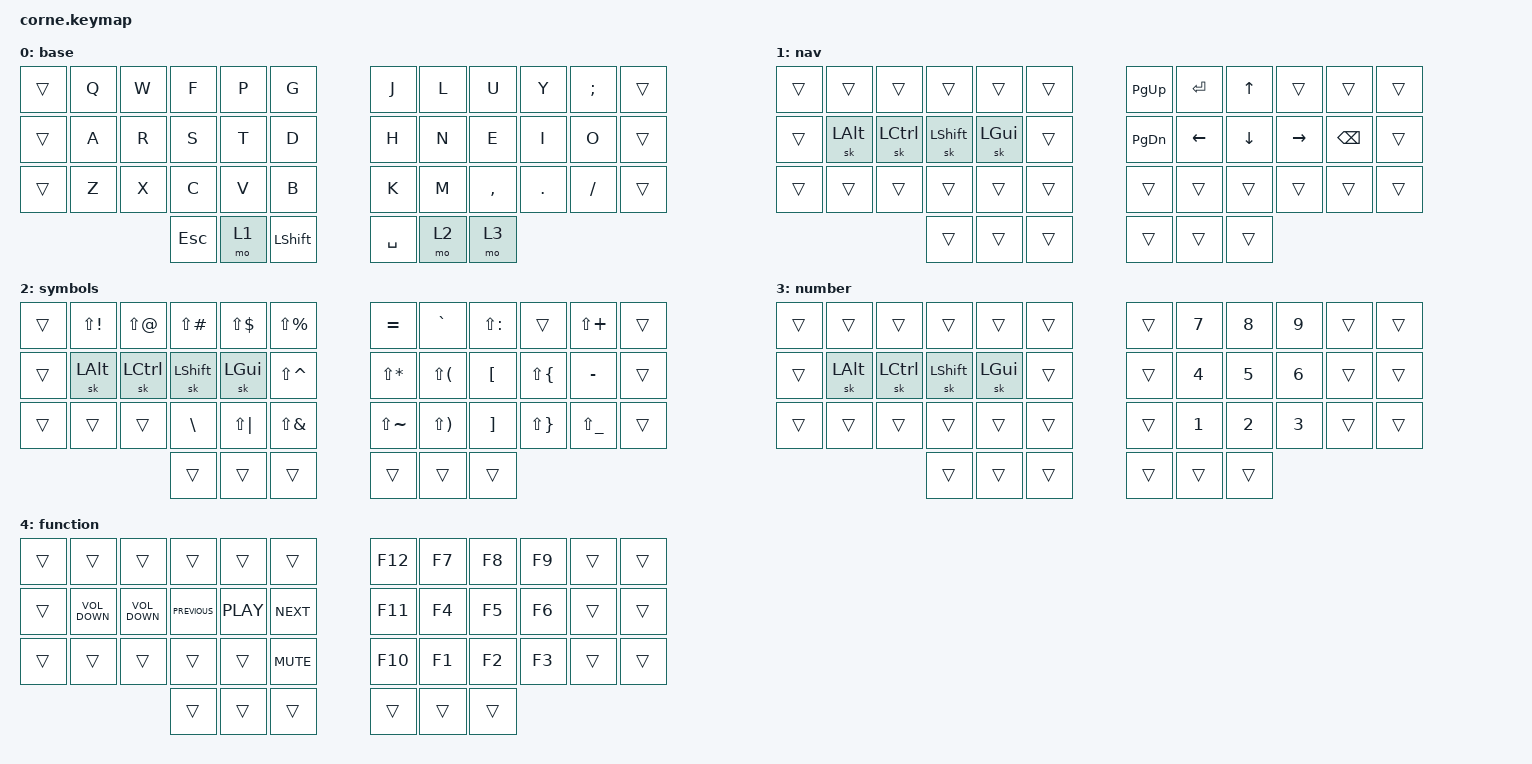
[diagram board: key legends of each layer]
#include <behaviors.dtsi>
#include <dt-bindings/zmk/keys.h>
#include <dt-bindings/zmk/bt.h>

/ {
    combos {
        compatible = "zmk,combos";

        func_layer {
            bindings = <&mo 4>;
            key-positions = <38 39>;
        };
    };

    keymap {
        compatible = "zmk,keymap";

        base {
            bindings = <
&trans  &kp Q  &kp W  &kp F       &kp P  &kp G        &kp J      &kp L  &kp U      &kp Y    &kp SEMI  &trans
&trans  &kp A  &kp R  &kp S       &kp T  &kp D        &kp H      &kp N  &kp E      &kp I    &kp O     &trans
&trans  &kp Z  &kp X  &kp C       &kp V  &kp B        &kp K      &kp M  &kp COMMA  &kp DOT  &kp FSLH  &trans
                      &kp ESCAPE  &mo 1  &kp LSHFT    &kp SPACE  &mo 2  &mo 3
            >;
        };

        nav {
            bindings = <
&trans  &trans    &trans     &trans     &trans    &trans    &kp PAGE_UP  &kp RET   &kp UP    &trans     &trans    &trans
&trans  &sk LALT  &sk LCTRL  &sk LSHFT  &sk LGUI  &trans    &kp PG_DN    &kp LEFT  &kp DOWN  &kp RIGHT  &kp BSPC  &trans
&trans  &trans    &trans     &trans     &trans    &trans    &trans       &trans    &trans    &trans     &trans    &trans
                             &trans     &trans    &trans    &trans       &trans    &trans
            >;
        };

        symbols {
            bindings = <
&trans  &kp LS(EXCL)  &kp LS(AT)  &kp LS(POUND)  &kp LS(DLLR)  &kp LS(PRCNT)    &kp EQUAL      &kp GRAVE     &kp LS(COLON)  &trans        &kp LS(PLUS)   &trans
&trans  &sk LALT      &sk LCTRL   &sk LSHFT      &sk LGUI      &kp LS(CARET)    &kp LS(STAR)   &kp LS(LPAR)  &kp LBKT       &kp LS(LBRC)  &kp MINUS      &trans
&trans  &trans        &trans      &kp BSLH       &kp LS(PIPE)  &kp LS(AMPS)     &kp LS(TILDE)  &kp LS(RPAR)  &kp RBKT       &kp LS(RBRC)  &kp LS(UNDER)  &trans
                                  &trans         &trans        &trans           &trans         &trans        &trans
            >;
        };

        number {
            bindings = <
&trans  &trans    &trans     &trans     &trans    &trans    &trans  &kp N7  &kp N8  &kp N9  &trans  &trans
&trans  &sk LALT  &sk LCTRL  &sk LSHFT  &sk LGUI  &trans    &trans  &kp N4  &kp N5  &kp N6  &trans  &trans
&trans  &trans    &trans     &trans     &trans    &trans    &trans  &kp N1  &kp N2  &kp N3  &trans  &trans
                             &trans     &trans    &trans    &trans  &trans  &trans
            >;
        };

        function {
            bindings = <
&trans  &trans             &trans             &trans          &trans      &trans        &kp F12  &kp F7  &kp F8  &kp F9  &trans  &trans
&trans  &kp C_VOLUME_DOWN  &kp C_VOLUME_DOWN  &kp C_PREVIOUS  &kp C_PLAY  &kp C_NEXT    &kp F11  &kp F4  &kp F5  &kp F6  &trans  &trans
&trans  &trans             &trans             &trans          &trans      &kp C_MUTE    &kp F10  &kp F1  &kp F2  &kp F3  &trans  &trans
                                              &trans          &trans      &trans        &trans   &trans  &trans
            >;
        };
    };
};
